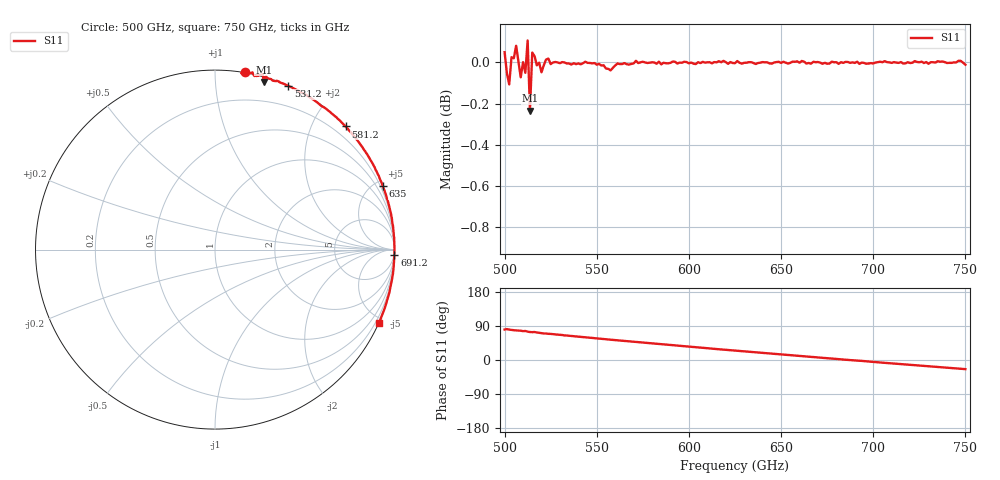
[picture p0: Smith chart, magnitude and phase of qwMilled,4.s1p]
!Created with mwavepy.
# GHz S RI R 50.0
!freq	ReS11	ImS11
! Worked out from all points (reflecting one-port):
!   201 points, 500 GHz to 750 GHz, reference 50 ohm
!   lowest |S11| = -0.2 dB at 513.8 GHz (marker M1), VSWR 74.27, Z = 1.87 + j66.6 ohm
!   phase of S11 starts at 80 deg and turns -105 deg over the sweep
!   S11 on the Smith chart (normalised r, x): 500 GHz: -0.01, +1.18; 531.2 GHz: -0.00, +1.54; 581.2 GHz: 0.00, +2.52; 635 GHz: 0.00, +5.47; 691.2 GHz: -1, -70; 750 GHz: 0.01, -4.68
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500  0.1671 0.9918
! Port Impedance 50.00000000000000 0.00000000000000
501.25  0.1458 0.9831
502.5  0.168 0.9734
503.75  0.1857 0.9856
506.25  0.2094 0.9874
508.75  0.2198 0.9671
510  0.2396 0.971
511.25  0.2313 0.9669
512.5  0.2652 0.977
513.75  0.2719 0.9347
515  0.2851 0.9643
516.25  0.2803 0.9636
521.25  0.3415 0.9382
525  0.3601 0.9319
531.25  0.4083 0.9131
546.25  0.5207 0.8534
562.5  0.6232 0.7809
581.25  0.7275 0.686
593.75  0.7888 0.6137
613.75  0.8716 0.4907
625  0.9075 0.419
635  0.9349 0.354
656.25  0.9776 0.2125
687.5  0.9998 -0.00335
691.25  1 -0.0287
718.75  0.9775 -0.2118
738.75  0.9415 -0.3375
750  0.9116 -0.408
